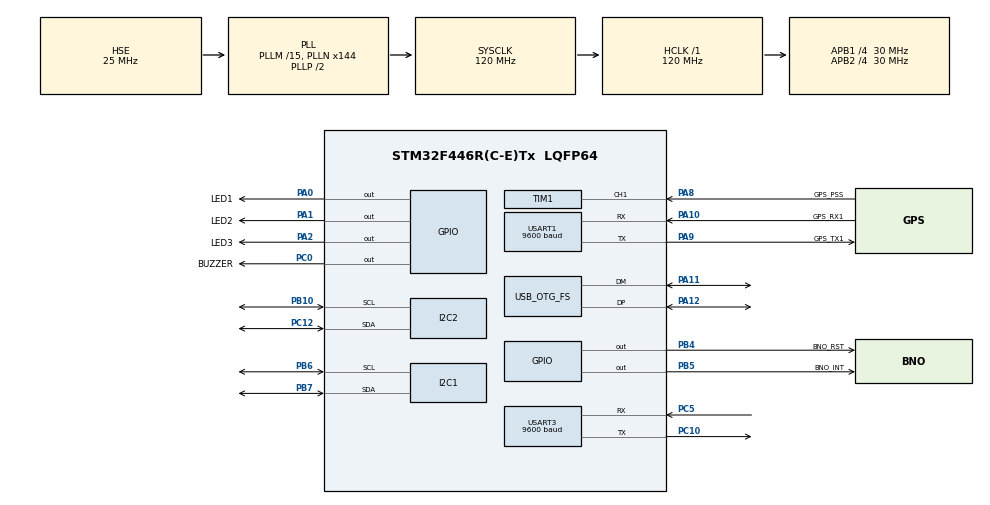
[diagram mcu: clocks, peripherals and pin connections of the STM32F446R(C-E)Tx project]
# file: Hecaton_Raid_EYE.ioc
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Dma.Request0=USART1_RX
Dma.USART1_RX.0.Direction=DMA_PERIPH_TO_MEMORY
Dma.USART1_RX.0.FIFOMode=DMA_FIFOMODE_DISABLE
Dma.USART1_RX.0.Instance=DMA2_Stream2
Dma.USART1_RX.0.MemDataAlignment=DMA_MDATAALIGN_BYTE
Dma.USART1_RX.0.MemInc=DMA_MINC_ENABLE
Dma.USART1_RX.0.Mode=DMA_CIRCULAR
Dma.USART1_RX.0.PeriphDataAlignment=DMA_PDATAALIGN_BYTE
Dma.USART1_RX.0.PeriphInc=DMA_PINC_DISABLE
Dma.USART1_RX.0.Priority=DMA_PRIORITY_LOW
Mcu.Family=STM32F4
Mcu.Name=STM32F446R(C-E)Tx
Mcu.Package=LQFP64
NVIC.DMA2_Stream2_IRQn=true\:0\:0\:false\:false\:true\:false\:true\:true
NVIC.OTG_FS_IRQn=true\:0\:0\:false\:false\:true\:false\:true\:true
NVIC.PriorityGroup=NVIC_PRIORITYGROUP_4
NVIC.TIM2_IRQn=true\:0\:0\:false\:false\:true\:true\:true\:true
NVIC.TIM4_IRQn=true\:0\:0\:false\:false\:true\:true\:true\:true
NVIC.TIM6_DAC_IRQn=true\:0\:0\:false\:false\:true\:true\:true\:true
NVIC.TIM8_UP_TIM13_IRQn=true\:0\:0\:false\:false\:true\:true\:true\:true
NVIC.USART1_IRQn=true\:0\:0\:false\:false\:true\:true\:true\:true
PA0-WKUP.GPIO_Label=LED1
PA0-WKUP.Signal=GPIO_Output
PA1.GPIO_Label=LED2
PA1.Signal=GPIO_Output
PA10.GPIO_Label=GPS_RX1
PA10.Mode=Asynchronous
PA10.Signal=USART1_RX
PA11.Mode=Host_Only
PA11.Signal=USB_OTG_FS_DM
PA12.Mode=Host_Only
PA12.Signal=USB_OTG_FS_DP
PA13.Mode=Serial_Wire
PA13.Signal=SYS_JTMS-SWDIO
PA14.Mode=Serial_Wire
PA14.Signal=SYS_JTCK-SWCLK
PA2.GPIO_Label=LED3
PA2.Signal=GPIO_Output
PA8.GPIO_Label=GPS_PSS
PA8.Signal=S_TIM1_CH1
PA9.GPIO_Label=GPS_TX1
PA9.Mode=Asynchronous
PA9.Signal=USART1_TX
PB10.Mode=I2C
PB10.Signal=I2C2_SCL
PB4.GPIO_Label=BNO_RST
PB4.Signal=GPIO_Output
PB5.GPIO_Label=BNO_INT
PB5.Signal=GPIO_Output
PB6.Mode=I2C
PB6.Signal=I2C1_SCL
PB7.Mode=I2C
PB7.Signal=I2C1_SDA
PC0.GPIO_Label=BUZZER
PC0.Signal=GPIO_Output
PC10.Mode=Asynchronous
PC10.Signal=USART3_TX
PC12.Mode=I2C
PC12.Signal=I2C2_SDA
PC5.Mode=Asynchronous
PC5.Signal=USART3_RX
PH0-OSC_IN.Mode=HSE-External-Oscillator
PH0-OSC_IN.Signal=RCC_OSC_IN
PH1-OSC_OUT.Mode=HSE-External-Oscillator
PH1-OSC_OUT.Signal=RCC_OSC_OUT
ProjectManager.HeapSize=0x200
ProjectManager.StackSize=0x400
ProjectManager.TargetToolchain=STM32CubeIDE
RCC.AHBFreq_Value=120000000
RCC.APB1CLKDivider=RCC_HCLK_DIV4
RCC.APB1Freq_Value=30000000
RCC.APB1TimFreq_Value=60000000
RCC.APB2CLKDivider=RCC_HCLK_DIV4
RCC.APB2Freq_Value=30000000
RCC.APB2TimFreq_Value=60000000
RCC.CortexFreq_Value=120000000
RCC.HCLKFreq_Value=120000000
RCC.HSE_VALUE=25000000
RCC.PLLM=15
RCC.PLLN=144
RCC.PLLQ=5
RCC.PLLSourceVirtual=RCC_PLLSOURCE_HSE
RCC.SYSCLKFreq_VALUE=120000000
RCC.SYSCLKSource=RCC_SYSCLKSOURCE_PLLCLK
RCC.USBFreq_Value=48000000
RCC.VCOOutputFreq_Value=240000000
SH.S_TIM1_CH1.0=TIM1_CH1,Input_Capture1_from_TI1
TIM1.Channel-Input_Capture1_from_TI1=TIM_CHANNEL_1
TIM2.Period=500-1
TIM2.Prescaler=600-1
TIM4.Period=1000-1
TIM4.Prescaler=600-1
TIM6.Period=2000-1
TIM6.Prescaler=600-1
TIM7.Period=1000-1
TIM7.Prescaler=600-1
TIM8.Period=100-1
TIM8.Prescaler=600-1
USART1.BaudRate=9600
USART1.VirtualMode=VM_ASYNC
USART3.BaudRate=9600
USART3.VirtualMode=VM_ASYNC
USB_HOST.USBH_HandleTypeDef-CDC_FS=hUsbHostFS
USB_HOST.VirtualModeFS=Cdc
USB_OTG_FS.VirtualMode=Host_Only
USB_OTG_FS.phy_itface=HCD_PHY_EMBEDDED
VP_TIM2_VS_ClockSourceINT.Mode=Internal
VP_TIM4_VS_ClockSourceINT.Mode=Internal
VP_TIM6_VS_ClockSourceINT.Mode=Enable_Timer
VP_TIM7_VS_ClockSourceINT.Mode=Enable_Timer
VP_TIM8_VS_ClockSourceINT.Mode=Internal
VP_USB_HOST_VS_USB_HOST_CDC_FS.Mode=CDC_FS
board=custom

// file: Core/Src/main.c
/* USER CODE BEGIN Header */
/**
  ******************************************************************************
  * @file           : main.c
  * @brief          : Main program body
  ******************************************************************************
  * @attention
  *
  * Copyright (c) 2024 STMicroelectronics.
  * All rights reserved.
  *
  * This software is licensed under terms that can be found in the LICENSE file
  * in the root directory of this software component.
  * If no LICENSE file comes with this software, it is provided AS-IS.
  *
  ******************************************************************************
  */
/* USER CODE END Header */
#include "main.h"
#include "usb_host.h"

/* USER CODE BEGIN Includes */

//USB
#include "usb_host.h"
#include "usbh_core.h"
#include "usbh_cdc.h" // RTL-SDR cihazı için uygun kütüphane seçilmelidir
#include "string.h"

//BNO055
#include "bno055_stm32.h"

//BME280
#include "BME280_STM32.h"

//GPS
#include "lwgps/lwgps.h"

//GENEL LİB
#include "stdint.h"
#include "stdio.h"
#include "stdbool.h"
#include "math.h"

/* USER CODE END Includes */

/* USER CODE BEGIN PD */

//I2C STM TO ESP
#define I2C_SLAVE_ADDRESS 0x30
#define BUFFER_SIZE 20

//USB
#define BUFFER_SIZE_USB 512 // Veri almak için kullanılacak veri tamponunun boyutu

#define MEDIAN_FILTER_SIZE 5

/* USER CODE END PD */

I2C_HandleTypeDef hi2c1;
I2C_HandleTypeDef hi2c2;

TIM_HandleTypeDef htim1;
TIM_HandleTypeDef htim2;
TIM_HandleTypeDef htim4;
TIM_HandleTypeDef htim6;
TIM_HandleTypeDef htim7;
TIM_HandleTypeDef htim8;

UART_HandleTypeDef huart1;
UART_HandleTypeDef huart3;
DMA_HandleTypeDef hdma_usart1_rx;

/* USER CODE BEGIN PV */

// BNO055 Sensörü
bno055_vector_t bno; // BNO055 vektör verisi
float Heading;        // x ekseninde yön
float Roll;           // y ekseninde eğim
float Pitch;          // z ekseninde eğim

// GPS Verileri
float enlem;   // Enlem verisi
float boylam;  // Boylam verisi

// BME Sensörü
float Pressure;     // Basınç
float Temperature;  // Sıcaklık
float Humidity;     // Nem
float irtifa;       // İrtifa

// Medyan Filtresi
float filter_irtifa; // Medyan irtifa değeri

// GPS
lwgps_t gps;                  // GPS nesnesi
uint8_t rx_buffer[128];       // GPS verilerini depolamak için tampon
bool gps_conn = false;        // GPS bağlantı durumu

// I2C Veri Transferi (STM32 - ESP)
uint8_t i2c_buffer[BUFFER_SIZE]; // I2C veri tamponu

// USB
USBH_HandleTypeDef hUSBHost;    // USB ana bilgisayar arabirimi
uint8_t usb_buffer[BUFFER_SIZE_USB]; // Veriyi depolamak için bir tampon
size_t length;                   // USB veri uzunluğu
USBH_StatusTypeDef status;       // USB durum
int8_t onceki_rssi;              // Önceki RSSI değeri
int8_t rssi_sayac;               // RSSI sayacı

/* USER CODE END PV */

void SystemClock_Config(void);
static void MX_GPIO_Init(void);
static void MX_DMA_Init(void);
static void MX_I2C1_Init(void);
static void MX_I2C2_Init(void);
static void MX_TIM1_Init(void);
static void MX_USART1_UART_Init(void);
static void MX_TIM2_Init(void);
static void MX_TIM4_Init(void);
static void MX_TIM6_Init(void);
static void MX_USART3_UART_Init(void);
static void MX_TIM7_Init(void);
static void MX_TIM8_Init(void);
void MX_USB_HOST_Process(void);

/* USER CODE BEGIN 0 */

// Buffer'daki tüm değerlerin sıfırdan farklı olup olmadığını kontrol eden fonksiyon
bool gps_buffer_kontrol(uint8_t *buffer, size_t length) {
    for (size_t i = 0; i < length; i++) {
        if (buffer[i] == 0) {
            return false;
        }
    }
    return true;
}

// Kullanıcı callback fonksiyonu
void USBH_UserProcess(USBH_HandleTypeDef *phost, uint8_t id) {
    switch (id) {
        case HOST_USER_SELECT_CONFIGURATION:
            break;
        case HOST_USER_DISCONNECTION:
            break;
        case HOST_USER_CLASS_ACTIVE:
            break;
        case HOST_USER_CONNECTION:
            break;
        default:
            printf("Unhandled user process: %d\n", id);
            break;
    }
}

//Basınc irtifa func
float basinc_irtifa_cevir()
{
	BME280_Measure();
	return 44330 * (1.0 - pow((Pressure/100) / Pressure, 0.1903));
}

void HAL_UART_RxCpltCallback(UART_HandleTypeDef *huart)
{
	if(huart == &huart1) {
		lwgps_process(&gps, rx_buffer, 128);
		enlem = gps.latitude;
		boylam = gps.longitude;

		gps_conn = gps_buffer_kontrol(rx_buffer, sizeof(rx_buffer));

	}
}

//Float değeri uint8_t dönüştürür
void floatToBytes(float floatValue, uint8_t byteArray[]) {
    // Float değerini unsigned char dizisine dönüştür
    uint8_t *ptr = (uint8_t*)&floatValue;

    // Her bir byte'ı unsigned char dizisine kopyala
    for (int i = 0; i < sizeof(float); i++) {
        byteArray[i] = *ptr++;
    }
}

//TIMER FUNC
void HAL_TIM_PeriodElapsedCallback(TIM_HandleTypeDef *htim)
{
	//BNO055 OKU
	if (htim->Instance == TIM2)//200Hz
	{
		  bno = bno055_getVectorEuler(); //FÜZYONLU VERİLER

		  Heading = bno.x;
		  Roll = bno.y;
		  Pitch = bno.z;

	}

	//BME280 READ
	if (htim->Instance == TIM4)//100Hz
	{
		irtifa = basinc_irtifa_cevir();
		//uint8_t tipinde değikenlere atama yapılacak
		//uint16_t low vr high bitlere bölünerek gönderilecek
		//float ise virgülden sonraki hanelere göre bitlere bölünerek atanacaltır.
		floatToBytes(irtifa, i2c_buffer);
	}

	//I2C VERI GONDER
	if (htim->Instance == TIM6)//50Hz
	{
		//********************I2C Veri Paketi**********************//
		//		0. byte -> irtifa low değeri
		//		1. byte -> irtifa high değeri
		//		2. byte -> frekans 1. bytesi
		//		3. byte -> frekans 1. bytesi
		//		4. byte -> frekans 1. bytesi
		//		5. byte -> frekans 1. bytesi
		//		6. byte -> frekans 1. bytesi
		//		7. byte -> frekans 1. bytesi
		//		8. byte -> frekans 1. bytesi
		//		9. byte -> rssı değeri (sinyal güç ölçüsü)
		//********************I2C Veri Paketi**********************//

		//I2C ile ESP gönderme işlemi
		if (HAL_I2C_Master_Transmit(&hi2c2, I2C_SLAVE_ADDRESS << 1, i2c_buffer, sizeof(i2c_buffer), HAL_MAX_DELAY) != HAL_OK) {
		    Error_Handler();
		}
	}

	if (htim->Instance == TIM7)//50Hz
	{
		//GPS LED
		if(gps_conn == true)
		{
			HAL_GPIO_WritePin(LED2_GPIO_Port, LED1_Pin, 0);
		}
		if(gps_conn == false)
		{
			HAL_GPIO_TogglePin(LED2_GPIO_Port, LED1_Pin);

		}

	}

	//Algoritma İkaz
	if (htim->Instance == TIM8)//50Hz
	{
		checkRSSI(i2c_buffer, &onceki_rssi, &rssi_sayac);
	}
}

void checkRSSI(uint8_t *i2c_buffer, uint8_t *onceki_rssi, uint8_t *rssi_sayac) {
    if (i2c_buffer[9] > *onceki_rssi) {
        (*rssi_sayac)++;
        if (*rssi_sayac >= 10) {
            i2c_buffer[10] = 1;
        }
    } else {
        *rssi_sayac = 0;
    }

    *onceki_rssi = i2c_buffer[9];
}

void USBH_CDC_ReceiveCallback(USBH_HandleTypeDef *phost)
{
    USBH_Process(&hUSBHost);

    size_t i = 0;
    while (i < length) {
        uint8_t command = usb_buffer[i];

        switch (command) {
            case 0x01:
                if (i + 8 < length) {
                    // Frekans ayarı komutunu işle
                    for (int j = 0; j < 6; j++) {
                        i2c_buffer[j + 2] = usb_buffer[i + j + 1];
                    }
                    i += 8;
                } else {
                    // Yetersiz veri, diziye atanmaz
                }
                break;
            case 0x02:
                if (i + 1 < length) {
                    // RSSI değeri komutunu işle
                    i2c_buffer[9] = usb_buffer[i + 1];
                    i += 1;
                } else {
                    // Yetersiz veri, diziye atanmaz
                }
                break;
            default:
                break;
        }
        i++;
    }
}

/* USER CODE END 0 */

int main(void)
{

  /* MCU Configuration--------------------------------------------------------*/

  /* Reset of all peripherals, Initializes the Flash interface and the Systick. */
  HAL_Init();

  /* Configure the system clock */
  SystemClock_Config();

  /* Initialize all configured peripherals */
  MX_GPIO_Init();
  MX_DMA_Init();
  MX_I2C1_Init();
  MX_I2C2_Init();
  MX_TIM1_Init();
  MX_USART1_UART_Init();
  MX_USB_HOST_Init();
  MX_TIM2_Init();
  MX_TIM4_Init();
  MX_TIM6_Init();
  MX_USART3_UART_Init();
  MX_TIM7_Init();
  MX_TIM8_Init();
  /* USER CODE BEGIN 2 */

  //TIMER
  HAL_TIM_Base_Start_IT(&htim2);
  HAL_TIM_Base_Start_IT(&htim4);
  HAL_TIM_Base_Start_IT(&htim6);
  HAL_TIM_Base_Start_IT(&htim7);
  HAL_TIM_Base_Start_IT(&htim8);

  //USB
  MX_USB_HOST_Init();
  status = USBH_Init(&hUSBHost, USBH_UserProcess, 0);
  USBH_CDC_ReceiveCallback(&hUSBHost);

  //BME280
  BME280_Config(OSRS_2, OSRS_16, OSRS_1, MODE_NORMAL, T_SB_0p5, IIR_16);

  BME280_Measure();
  HAL_Delay(50);
  Pressure=Pressure/100;

  //BNO055
  bno055_assignI2C(&hi2c1);
  bno055_setup();
  bno055_setOperationModeNDOF();

  //GPS
  lwgps_init(&gps);
  HAL_UART_Receive_DMA(&huart1, (uint8_t *) rx_buffer, 128);

  /* USER CODE END 2 */

  /* Infinite loop */
  while (1)
  {
    MX_USB_HOST_Process();

  }
}

void SystemClock_Config(void)
{
  RCC_OscInitTypeDef RCC_OscInitStruct = {0};
  RCC_ClkInitTypeDef RCC_ClkInitStruct = {0};

  /** Configure the main internal regulator output voltage
  */
  __HAL_RCC_PWR_CLK_ENABLE();
  __HAL_PWR_VOLTAGESCALING_CONFIG(PWR_REGULATOR_VOLTAGE_SCALE3);

  /** Initializes the RCC Oscillators according to the specified parameters
  * in the RCC_OscInitTypeDef structure.
  */
  RCC_OscInitStruct.OscillatorType = RCC_OSCILLATORTYPE_HSE;
  RCC_OscInitStruct.HSEState = RCC_HSE_ON;
  RCC_OscInitStruct.PLL.PLLState = RCC_PLL_ON;
  RCC_OscInitStruct.PLL.PLLSource = RCC_PLLSOURCE_HSE;
  RCC_OscInitStruct.PLL.PLLM = 15;
  RCC_OscInitStruct.PLL.PLLN = 144;
  RCC_OscInitStruct.PLL.PLLP = RCC_PLLP_DIV2;
  RCC_OscInitStruct.PLL.PLLQ = 5;
  RCC_OscInitStruct.PLL.PLLR = 2;
  if (HAL_RCC_OscConfig(&RCC_OscInitStruct) != HAL_OK)
  {
    Error_Handler();
  }

  /** Initializes the CPU, AHB and APB buses clocks
  */
  RCC_ClkInitStruct.ClockType = RCC_CLOCKTYPE_HCLK|RCC_CLOCKTYPE_SYSCLK
                              |RCC_CLOCKTYPE_PCLK1|RCC_CLOCKTYPE_PCLK2;
  RCC_ClkInitStruct.SYSCLKSource = RCC_SYSCLKSOURCE_PLLCLK;
  RCC_ClkInitStruct.AHBCLKDivider = RCC_SYSCLK_DIV1;
  RCC_ClkInitStruct.APB1CLKDivider = RCC_HCLK_DIV4;
  RCC_ClkInitStruct.APB2CLKDivider = RCC_HCLK_DIV4;

  if (HAL_RCC_ClockConfig(&RCC_ClkInitStruct, FLASH_LATENCY_3) != HAL_OK)
  {
    Error_Handler();
  }
}

static void MX_I2C1_Init(void)
{

  hi2c1.Instance = I2C1;
  hi2c1.Init.ClockSpeed = 100000;
  hi2c1.Init.DutyCycle = I2C_DUTYCYCLE_2;
  hi2c1.Init.OwnAddress1 = 0;
  hi2c1.Init.AddressingMode = I2C_ADDRESSINGMODE_7BIT;
  hi2c1.Init.DualAddressMode = I2C_DUALADDRESS_DISABLE;
  hi2c1.Init.OwnAddress2 = 0;
  hi2c1.Init.GeneralCallMode = I2C_GENERALCALL_DISABLE;
  hi2c1.Init.NoStretchMode = I2C_NOSTRETCH_DISABLE;
  if (HAL_I2C_Init(&hi2c1) != HAL_OK)
  {
    Error_Handler();
  }

}

static void MX_I2C2_Init(void)
{

  hi2c2.Instance = I2C2;
  hi2c2.Init.ClockSpeed = 100000;
  hi2c2.Init.DutyCycle = I2C_DUTYCYCLE_2;
  hi2c2.Init.OwnAddress1 = 0;
  hi2c2.Init.AddressingMode = I2C_ADDRESSINGMODE_7BIT;
  hi2c2.Init.DualAddressMode = I2C_DUALADDRESS_DISABLE;
  hi2c2.Init.OwnAddress2 = 0;
  hi2c2.Init.GeneralCallMode = I2C_GENERALCALL_DISABLE;
  hi2c2.Init.NoStretchMode = I2C_NOSTRETCH_DISABLE;
  if (HAL_I2C_Init(&hi2c2) != HAL_OK)
  {
    Error_Handler();
  }

}

static void MX_TIM1_Init(void)
{

  TIM_MasterConfigTypeDef sMasterConfig = {0};
  TIM_IC_InitTypeDef sConfigIC = {0};

  htim1.Instance = TIM1;
  htim1.Init.Prescaler = 0;
  htim1.Init.CounterMode = TIM_COUNTERMODE_UP;
  htim1.Init.Period = 65535;
  htim1.Init.ClockDivision = TIM_CLOCKDIVISION_DIV1;
  htim1.Init.RepetitionCounter = 0;
  htim1.Init.AutoReloadPreload = TIM_AUTORELOAD_PRELOAD_DISABLE;
  if (HAL_TIM_IC_Init(&htim1) != HAL_OK)
  {
    Error_Handler();
  }
  sMasterConfig.MasterOutputTrigger = TIM_TRGO_RESET;
  sMasterConfig.MasterSlaveMode = TIM_MASTERSLAVEMODE_DISABLE;
  if (HAL_TIMEx_MasterConfigSynchronization(&htim1, &sMasterConfig) != HAL_OK)
  {
    Error_Handler();
  }
  sConfigIC.ICPolarity = TIM_INPUTCHANNELPOLARITY_RISING;
  sConfigIC.ICSelection = TIM_ICSELECTION_DIRECTTI;
  sConfigIC.ICPrescaler = TIM_ICPSC_DIV1;
  sConfigIC.ICFilter = 0;
  if (HAL_TIM_IC_ConfigChannel(&htim1, &sConfigIC, TIM_CHANNEL_1) != HAL_OK)
  {
    Error_Handler();
  }

}

static void MX_TIM2_Init(void)
{

  TIM_ClockConfigTypeDef sClockSourceConfig = {0};
  TIM_MasterConfigTypeDef sMasterConfig = {0};

  htim2.Instance = TIM2;
  htim2.Init.Prescaler = 600-1;
  htim2.Init.CounterMode = TIM_COUNTERMODE_UP;
  htim2.Init.Period = 500-1;
  htim2.Init.ClockDivision = TIM_CLOCKDIVISION_DIV1;
  htim2.Init.AutoReloadPreload = TIM_AUTORELOAD_PRELOAD_DISABLE;
  if (HAL_TIM_Base_Init(&htim2) != HAL_OK)
  {
    Error_Handler();
  }
  sClockSourceConfig.ClockSource = TIM_CLOCKSOURCE_INTERNAL;
  if (HAL_TIM_ConfigClockSource(&htim2, &sClockSourceConfig) != HAL_OK)
  {
    Error_Handler();
  }
  sMasterConfig.MasterOutputTrigger = TIM_TRGO_RESET;
  sMasterConfig.MasterSlaveMode = TIM_MASTERSLAVEMODE_DISABLE;
  if (HAL_TIMEx_MasterConfigSynchronization(&htim2, &sMasterConfig) != HAL_OK)
  {
    Error_Handler();
  }

}

static void MX_TIM4_Init(void)
{

  TIM_ClockConfigTypeDef sClockSourceConfig = {0};
  TIM_MasterConfigTypeDef sMasterConfig = {0};

  htim4.Instance = TIM4;
  htim4.Init.Prescaler = 600-1;
  htim4.Init.CounterMode = TIM_COUNTERMODE_UP;
  htim4.Init.Period = 1000-1;
  htim4.Init.ClockDivision = TIM_CLOCKDIVISION_DIV1;
  htim4.Init.AutoReloadPreload = TIM_AUTORELOAD_PRELOAD_DISABLE;
  if (HAL_TIM_Base_Init(&htim4) != HAL_OK)
  {
    Error_Handler();
  }
  sClockSourceConfig.ClockSource = TIM_CLOCKSOURCE_INTERNAL;
  if (HAL_TIM_ConfigClockSource(&htim4, &sClockSourceConfig) != HAL_OK)
  {
    Error_Handler();
  }
  sMasterConfig.MasterOutputTrigger = TIM_TRGO_RESET;
  sMasterConfig.MasterSlaveMode = TIM_MASTERSLAVEMODE_DISABLE;
  if (HAL_TIMEx_MasterConfigSynchronization(&htim4, &sMasterConfig) != HAL_OK)
  {
    Error_Handler();
  }

}

static void MX_TIM6_Init(void)
{

  TIM_MasterConfigTypeDef sMasterConfig = {0};

  htim6.Instance = TIM6;
  htim6.Init.Prescaler = 600-1;
  htim6.Init.CounterMode = TIM_COUNTERMODE_UP;
  htim6.Init.Period = 2000-1;
  htim6.Init.AutoReloadPreload = TIM_AUTORELOAD_PRELOAD_DISABLE;
  if (HAL_TIM_Base_Init(&htim6) != HAL_OK)
  {
    Error_Handler();
  }
  sMasterConfig.MasterOutputTrigger = TIM_TRGO_RESET;
  sMasterConfig.MasterSlaveMode = TIM_MASTERSLAVEMODE_DISABLE;
  if (HAL_TIMEx_MasterConfigSynchronization(&htim6, &sMasterConfig) != HAL_OK)
  {
    Error_Handler();
  }

}

static void MX_TIM7_Init(void)
{

  TIM_MasterConfigTypeDef sMasterConfig = {0};

  htim7.Instance = TIM7;
  htim7.Init.Prescaler = 600-1;
  htim7.Init.CounterMode = TIM_COUNTERMODE_UP;
  htim7.Init.Period = 1000-1;
  htim7.Init.AutoReloadPreload = TIM_AUTORELOAD_PRELOAD_DISABLE;
  if (HAL_TIM_Base_Init(&htim7) != HAL_OK)
  {
    Error_Handler();
  }
  sMasterConfig.MasterOutputTrigger = TIM_TRGO_RESET;
  sMasterConfig.MasterSlaveMode = TIM_MASTERSLAVEMODE_DISABLE;
  if (HAL_TIMEx_MasterConfigSynchronization(&htim7, &sMasterConfig) != HAL_OK)
  {
    Error_Handler();
  }

}

static void MX_TIM8_Init(void)
{

  TIM_ClockConfigTypeDef sClockSourceConfig = {0};
  TIM_MasterConfigTypeDef sMasterConfig = {0};

  htim8.Instance = TIM8;
  htim8.Init.Prescaler = 600-1;
  htim8.Init.CounterMode = TIM_COUNTERMODE_UP;
  htim8.Init.Period = 100-1;
  htim8.Init.ClockDivision = TIM_CLOCKDIVISION_DIV1;
  htim8.Init.RepetitionCounter = 0;
  htim8.Init.AutoReloadPreload = TIM_AUTORELOAD_PRELOAD_DISABLE;
  if (HAL_TIM_Base_Init(&htim8) != HAL_OK)
  {
    Error_Handler();
  }
  sClockSourceConfig.ClockSource = TIM_CLOCKSOURCE_INTERNAL;
  if (HAL_TIM_ConfigClockSource(&htim8, &sClockSourceConfig) != HAL_OK)
  {
    Error_Handler();
  }
  sMasterConfig.MasterOutputTrigger = TIM_TRGO_RESET;
  sMasterConfig.MasterSlaveMode = TIM_MASTERSLAVEMODE_DISABLE;
  if (HAL_TIMEx_MasterConfigSynchronization(&htim8, &sMasterConfig) != HAL_OK)
  {
    Error_Handler();
  }

}

static void MX_USART1_UART_Init(void)
{

  huart1.Instance = USART1;
  huart1.Init.BaudRate = 9600;
  huart1.Init.WordLength = UART_WORDLENGTH_8B;
  huart1.Init.StopBits = UART_STOPBITS_1;
  huart1.Init.Parity = UART_PARITY_NONE;
  huart1.Init.Mode = UART_MODE_TX_RX;
  huart1.Init.HwFlowCtl = UART_HWCONTROL_NONE;
  huart1.Init.OverSampling = UART_OVERSAMPLING_16;
  if (HAL_UART_Init(&huart1) != HAL_OK)
  {
    Error_Handler();
  }

}

static void MX_USART3_UART_Init(void)
{

  huart3.Instance = USART3;
  huart3.Init.BaudRate = 9600;
  huart3.Init.WordLength = UART_WORDLENGTH_8B;
  huart3.Init.StopBits = UART_STOPBITS_1;
  huart3.Init.Parity = UART_PARITY_NONE;
  huart3.Init.Mode = UART_MODE_TX_RX;
  huart3.Init.HwFlowCtl = UART_HWCONTROL_NONE;
  huart3.Init.OverSampling = UART_OVERSAMPLING_16;
  if (HAL_UART_Init(&huart3) != HAL_OK)
  {
    Error_Handler();
  }

}

static void MX_DMA_Init(void)
{

  /* DMA controller clock enable */
  __HAL_RCC_DMA2_CLK_ENABLE();

  /* DMA interrupt init */
  /* DMA2_Stream2_IRQn interrupt configuration */
  HAL_NVIC_SetPriority(DMA2_Stream2_IRQn, 0, 0);
  HAL_NVIC_EnableIRQ(DMA2_Stream2_IRQn);

}

static void MX_GPIO_Init(void)
{
  GPIO_InitTypeDef GPIO_InitStruct = {0};

  /* GPIO Ports Clock Enable */
  __HAL_RCC_GPIOH_CLK_ENABLE();
  __HAL_RCC_GPIOC_CLK_ENABLE();
  __HAL_RCC_GPIOA_CLK_ENABLE();
  __HAL_RCC_GPIOB_CLK_ENABLE();

  /*Configure GPIO pin Output Level */
  HAL_GPIO_WritePin(BUZZER_GPIO_Port, BUZZER_Pin, GPIO_PIN_RESET);

  /*Configure GPIO pin Output Level */
  HAL_GPIO_WritePin(GPIOA, LED1_Pin|LED2_Pin|LED3_Pin, GPIO_PIN_RESET);

  /*Configure GPIO pin Output Level */
  HAL_GPIO_WritePin(GPIOB, BNO_RST_Pin|BNO_INT_Pin, GPIO_PIN_RESET);

  /*Configure GPIO pin : BUZZER_Pin */
  GPIO_InitStruct.Pin = BUZZER_Pin;
  GPIO_InitStruct.Mode = GPIO_MODE_OUTPUT_PP;
  GPIO_InitStruct.Pull = GPIO_NOPULL;
  GPIO_InitStruct.Speed = GPIO_SPEED_FREQ_LOW;
  HAL_GPIO_Init(BUZZER_GPIO_Port, &GPIO_InitStruct);

  /*Configure GPIO pins : LED1_Pin LED2_Pin LED3_Pin */
  GPIO_InitStruct.Pin = LED1_Pin|LED2_Pin|LED3_Pin;
  GPIO_InitStruct.Mode = GPIO_MODE_OUTPUT_PP;
  GPIO_InitStruct.Pull = GPIO_NOPULL;
  GPIO_InitStruct.Speed = GPIO_SPEED_FREQ_LOW;
  HAL_GPIO_Init(GPIOA, &GPIO_InitStruct);

  /*Configure GPIO pins : BNO_RST_Pin BNO_INT_Pin */
  GPIO_InitStruct.Pin = BNO_RST_Pin|BNO_INT_Pin;
  GPIO_InitStruct.Mode = GPIO_MODE_OUTPUT_PP;
  GPIO_InitStruct.Pull = GPIO_NOPULL;
  GPIO_InitStruct.Speed = GPIO_SPEED_FREQ_LOW;
  HAL_GPIO_Init(GPIOB, &GPIO_InitStruct);

}

void Error_Handler(void)
{
  /* USER CODE BEGIN Error_Handler_Debug */
  /* User can add his own implementation to report the HAL error return state */
	printf("HATA KODU");
  __disable_irq();
  while (1)
  {
  }
  /* USER CODE END Error_Handler_Debug */
}
